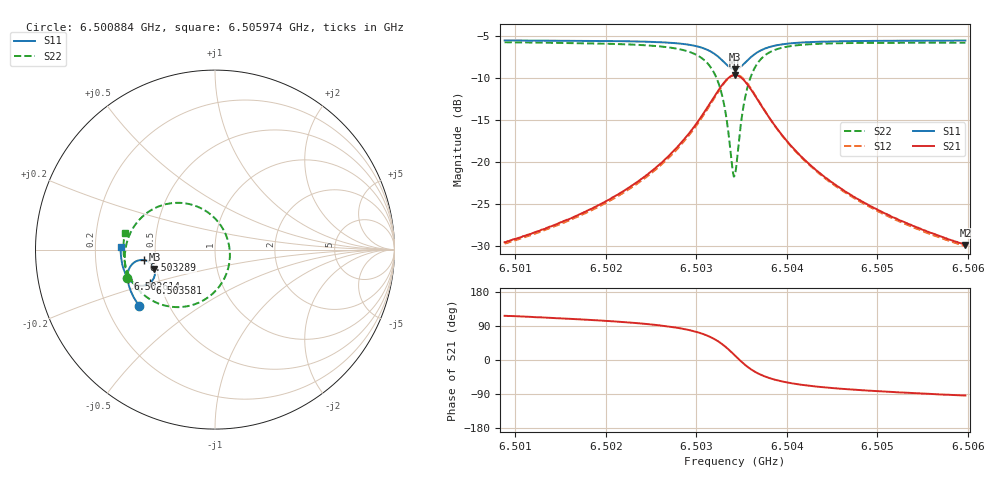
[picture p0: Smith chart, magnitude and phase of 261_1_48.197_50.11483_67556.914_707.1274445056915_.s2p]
#  HZ  S  RI  R  50.00
! Rohde & Schwarz Vector Network Analyzer
! Rohde-Schwarz,ZNB20-2Port,1311601062101988,3.16
! Created: UTC 3/20/2024, 11:47:45 AM
! freq[Hz]  re:S11  im:S11  re:S21  im:S21  re:S12  im:S12  re:S22  im:S22
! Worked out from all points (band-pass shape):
!   401 points, 6.500884 GHz to 6.505974 GHz, reference 50 ohm
!   highest |S21| = -9.70 dB at 6.503429 GHz (marker M1); lowest = -29.9 dB at 6.505974 GHz (marker M2)
!   |S21| within 3 dB of the highest: 6.503174 GHz to 6.503683 GHz (509.1 kHz wide, 0.00783 % of centre)
!   lowest |S11| = -9.0 dB at 6.503429 GHz (marker M3), VSWR 2.10, Z = 24.3 - j6.01 ohm
!   |S11| at or under -10 dB: nowhere
!   |S22| runs from -21.8 to -5.8 dB; largest |S21 - S12| = 0.011
!   S11 on the Smith chart (normalised r, x): 6.500884 GHz: 0.34, -0.30; 6.502614 GHz: 0.33, -0.15; 6.503289 GHz: 0.43, -0.06; 6.503581 GHz: 0.44, -0.20; 6.505974 GHz: 0.31, +0.01
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6.5008836e9  -0.4231 -0.3134  -0.0148 0.0297  -0.0132 0.0297  -0.4881 -0.1601
6.5017362e9  -0.4603 -0.251  -0.0143 0.0472  -0.0119 0.0468  -0.5022 -0.0705
6.5021943e9  -0.4766 -0.2107  -0.0116 0.0657  -0.00872 0.0646  -0.5 -0.00659
6.5025888e9  -0.4863 -0.1678  -0.00262 0.0956  0.000967 0.0934  -0.481 0.0707
6.5026142e9  -0.4866 -0.1645  -0.00154 0.0983  0.00214 0.0959  -0.4785 0.0769
6.502856e9  -0.4852 -0.1289  0.0179 0.1324  0.0218 0.1285  -0.4375 0.1477
6.5030342e9  -0.4723 -0.0952  0.0552 0.1693  0.0583 0.1638  -0.3644 0.2145
6.5031869e9  -0.4389 -0.0648  0.1293 0.1995  0.1305 0.1932  -0.2286 0.2599
6.5032887e9  -0.396 -0.0582  0.215 0.1904  0.2152 0.185  -0.0798 0.2313
6.5033396e9  -0.3705 -0.067  0.2633 0.1621  0.2641 0.1576  0.000613 0.1732
6.5034032e9  -0.3439 -0.0935  0.3106 0.0984  0.3131 0.0933  0.072 0.0505
6.5034286e9  -0.3376 -0.1082  0.3206 0.0661  0.3238 0.0603  0.0826 -0.00942
6.5034541e9  -0.3347 -0.1238  0.3243 0.0326  0.3275 0.0256  0.0803 -0.0705
6.5035177e9  -0.3419 -0.1606  0.3059 -0.0448  0.3078 -0.0547  0.0247 -0.2049
6.5035813e9  -0.3631 -0.1863  0.2629 -0.0984  0.2618 -0.1097  -0.0719 -0.2868
6.5036831e9  -0.4024 -0.2013  0.1887 -0.1343  0.1836 -0.1436  -0.2212 -0.3203
6.5038486e9  -0.4483 -0.1917  0.1077 -0.1311  0.1006 -0.1361  -0.3672 -0.2737
6.5040267e9  -0.4756 -0.1702  0.0635 -0.111  0.0573 -0.1133  -0.4387 -0.209
6.5042812e9  -0.4962 -0.1403  0.0337 -0.087  0.0289 -0.0875  -0.4818 -0.137
6.5046757e9  -0.5121 -0.0994  0.0146 -0.0633  0.0113 -0.063  -0.5043 -0.0604
6.5051338e9  -0.5211 -0.0572  0.00511 -0.0477  0.00273 -0.0469  -0.5102 0.0033
6.5059737e9  -0.5259 0.0136  -0.00213 -0.0319  -0.00341 -0.0312  -0.502 0.0915
